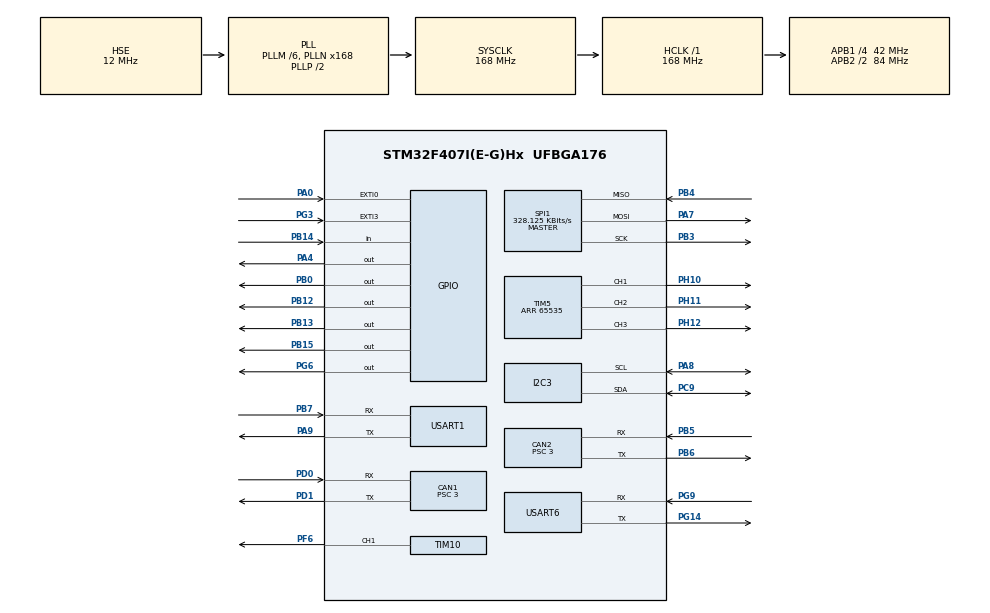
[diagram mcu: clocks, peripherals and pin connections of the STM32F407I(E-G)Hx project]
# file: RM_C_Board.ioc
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CAN1.BS1=CAN_BS1_10TQ
CAN1.BS2=CAN_BS2_3TQ
CAN1.CalculateBaudRate=1000000
CAN1.CalculateTimeBit=1000
CAN1.CalculateTimeQuantum=71.42857142857143
CAN1.Prescaler=3
CAN2.BS1=CAN_BS1_10TQ
CAN2.BS2=CAN_BS2_3TQ
CAN2.CalculateBaudRate=1000000
CAN2.CalculateTimeBit=1000
CAN2.CalculateTimeQuantum=71.42857142857143
CAN2.Prescaler=3
Dma.Request0=USART1_TX
Dma.Request1=USART6_TX
Dma.Request2=USART1_RX
Dma.USART1_RX.2.Direction=DMA_PERIPH_TO_MEMORY
Dma.USART1_RX.2.FIFOMode=DMA_FIFOMODE_DISABLE
Dma.USART1_RX.2.Instance=DMA2_Stream2
Dma.USART1_RX.2.MemDataAlignment=DMA_MDATAALIGN_BYTE
Dma.USART1_RX.2.MemInc=DMA_MINC_ENABLE
Dma.USART1_RX.2.Mode=DMA_NORMAL
Dma.USART1_RX.2.PeriphDataAlignment=DMA_PDATAALIGN_BYTE
Dma.USART1_RX.2.PeriphInc=DMA_PINC_DISABLE
Dma.USART1_RX.2.Priority=DMA_PRIORITY_VERY_HIGH
Dma.USART1_TX.0.Direction=DMA_MEMORY_TO_PERIPH
Dma.USART1_TX.0.FIFOMode=DMA_FIFOMODE_DISABLE
Dma.USART1_TX.0.Instance=DMA2_Stream7
Dma.USART1_TX.0.MemDataAlignment=DMA_MDATAALIGN_BYTE
Dma.USART1_TX.0.MemInc=DMA_MINC_ENABLE
Dma.USART1_TX.0.Mode=DMA_NORMAL
Dma.USART1_TX.0.PeriphDataAlignment=DMA_PDATAALIGN_BYTE
Dma.USART1_TX.0.PeriphInc=DMA_PINC_DISABLE
Dma.USART1_TX.0.Priority=DMA_PRIORITY_HIGH
Dma.USART6_TX.1.Direction=DMA_MEMORY_TO_PERIPH
Dma.USART6_TX.1.FIFOMode=DMA_FIFOMODE_DISABLE
Dma.USART6_TX.1.Instance=DMA2_Stream6
Dma.USART6_TX.1.MemDataAlignment=DMA_MDATAALIGN_BYTE
Dma.USART6_TX.1.MemInc=DMA_MINC_ENABLE
Dma.USART6_TX.1.Mode=DMA_NORMAL
Dma.USART6_TX.1.PeriphDataAlignment=DMA_PDATAALIGN_BYTE
Dma.USART6_TX.1.PeriphInc=DMA_PINC_DISABLE
Dma.USART6_TX.1.Priority=DMA_PRIORITY_VERY_HIGH
Mcu.Family=STM32F4
Mcu.Name=STM32F407I(E-G)Hx
Mcu.Package=UFBGA176
NVIC.CAN1_RX0_IRQn=true\:0\:0\:false\:false\:true\:true\:true\:true
NVIC.DMA2_Stream2_IRQn=true\:0\:0\:false\:false\:true\:false\:true\:true
NVIC.DMA2_Stream6_IRQn=true\:0\:0\:false\:false\:true\:false\:true\:true
NVIC.DMA2_Stream7_IRQn=true\:0\:0\:false\:false\:true\:false\:true\:true
NVIC.EXTI0_IRQn=true\:0\:0\:false\:false\:true\:true\:true\:true
NVIC.EXTI3_IRQn=true\:0\:0\:false\:false\:true\:true\:true\:true
NVIC.PriorityGroup=NVIC_PRIORITYGROUP_4
NVIC.TIM1_UP_TIM10_IRQn=true\:0\:0\:false\:false\:true\:true\:true\:true
NVIC.TIM4_IRQn=true\:0\:0\:false\:false\:true\:true\:true\:true
NVIC.TIM8_UP_TIM13_IRQn=true\:0\:0\:false\:false\:true\:true\:true\:true
NVIC.USART1_IRQn=true\:0\:0\:false\:false\:true\:true\:true\:true
NVIC.USART6_IRQn=true\:0\:0\:false\:false\:true\:true\:true\:true
PA0-WKUP.GPIO_ModeDefaultEXTI=GPIO_MODE_IT_FALLING
PA0-WKUP.GPIO_PuPd=GPIO_PULLUP
PA0-WKUP.Signal=GPXTI0
PA13.Mode=Serial_Wire
PA13.Signal=SYS_JTMS-SWDIO
PA14.Mode=Serial_Wire
PA14.Signal=SYS_JTCK-SWCLK
PA4.Signal=GPIO_Output
PA7.Mode=Full_Duplex_Master
PA7.Signal=SPI1_MOSI
PA8.Mode=I2C
PA8.Signal=I2C3_SCL
PA9.Mode=Asynchronous
PA9.Signal=USART1_TX
PB0.Signal=GPIO_Output
PB12.GPIO_PuPd=GPIO_NOPULL
PB12.Signal=GPIO_Output
PB13.GPIO_PuPd=GPIO_NOPULL
PB13.Signal=GPIO_Output
PB14.GPIO_PuPd=GPIO_PULLUP
PB14.Signal=GPIO_Input
PB15.GPIO_PuPd=GPIO_NOPULL
PB15.Signal=GPIO_Output
PB3.Mode=Full_Duplex_Master
PB3.Signal=SPI1_SCK
PB4.Mode=Full_Duplex_Master
PB4.Signal=SPI1_MISO
PB5.Mode=CAN_Activate
PB5.Signal=CAN2_RX
PB6.Mode=CAN_Activate
PB6.Signal=CAN2_TX
PB7.Mode=Asynchronous
PB7.Signal=USART1_RX
PC9.Mode=I2C
PC9.Signal=I2C3_SDA
PD0.Mode=CAN_Activate
PD0.Signal=CAN1_RX
PD1.Mode=CAN_Activate
PD1.Signal=CAN1_TX
PF6.Signal=S_TIM10_CH1
PG14.Mode=Asynchronous
PG14.Signal=USART6_TX
PG3.Signal=GPXTI3
PG6.Signal=GPIO_Output
PG9.Mode=Asynchronous
PG9.Signal=USART6_RX
PH0-OSC_IN.Mode=HSE-External-Oscillator
PH0-OSC_IN.Signal=RCC_OSC_IN
PH1-OSC_OUT.Mode=HSE-External-Oscillator
PH1-OSC_OUT.Signal=RCC_OSC_OUT
PH10.Signal=S_TIM5_CH1
PH11.Signal=S_TIM5_CH2
PH12.Signal=S_TIM5_CH3
ProjectManager.HeapSize=0x200
ProjectManager.StackSize=0x400
ProjectManager.TargetToolchain=Makefile
RCC.48MHZClocksFreq_Value=84000000
RCC.AHBFreq_Value=168000000
RCC.APB1CLKDivider=RCC_HCLK_DIV4
RCC.APB1Freq_Value=42000000
RCC.APB1TimFreq_Value=84000000
RCC.APB2CLKDivider=RCC_HCLK_DIV2
RCC.APB2Freq_Value=84000000
RCC.APB2TimFreq_Value=168000000
RCC.CortexFreq_Value=168000000
RCC.HCLKFreq_Value=168000000
RCC.HSE_VALUE=12000000
RCC.HSI_VALUE=16000000
RCC.LSE_VALUE=32768
RCC.PLLM=6
RCC.PLLN=168
RCC.PLLSourceVirtual=RCC_PLLSOURCE_HSE
RCC.SYSCLKFreq_VALUE=168000000
RCC.SYSCLKSource=RCC_SYSCLKSOURCE_PLLCLK
RCC.VCOOutputFreq_Value=336000000
SH.S_TIM10_CH1.0=TIM10_CH1,PWM Generation1 CH1
SH.S_TIM5_CH1.0=TIM5_CH1,PWM Generation1 CH1
SH.S_TIM5_CH2.0=TIM5_CH2,PWM Generation2 CH2
SH.S_TIM5_CH3.0=TIM5_CH3,PWM Generation3 CH3
SPI1.BaudRatePrescaler=SPI_BAUDRATEPRESCALER_256
SPI1.CLKPhase=SPI_PHASE_2EDGE
SPI1.CLKPolarity=SPI_POLARITY_HIGH
SPI1.CalculateBaudRate=328.125 KBits/s
SPI1.Direction=SPI_DIRECTION_2LINES
SPI1.Mode=SPI_MODE_MASTER
SPI1.VirtualType=VM_MASTER
TIM1.Period=10-1
TIM1.Prescaler=16800-1
TIM10.Channel=TIM_CHANNEL_1
TIM10.Period=4999
TIM4.Period=10-1
TIM4.Prescaler=16800-1
TIM5.Channel-PWM\ Generation1\ CH1=TIM_CHANNEL_1
TIM5.Channel-PWM\ Generation2\ CH2=TIM_CHANNEL_2
TIM5.Channel-PWM\ Generation3\ CH3=TIM_CHANNEL_3
TIM5.Period=65535
TIM8.Period=10-1
TIM8.Prescaler=16800-1
USART1.VirtualMode=VM_ASYNC
USART6.VirtualMode=VM_ASYNC
VP_TIM10_VS_ClockSourceINT.Mode=Enable_Timer
VP_TIM1_VS_ClockSourceINT.Mode=Internal
VP_TIM4_VS_ClockSourceINT.Mode=Internal
VP_TIM5_VS_ClockSourceINT.Mode=Internal
VP_TIM8_VS_ClockSourceINT.Mode=Internal
board=custom

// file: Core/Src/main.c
/* USER CODE BEGIN Header */
/**
  ******************************************************************************
  * @file           : main.c
  * @brief          : Main program body
  ******************************************************************************
  * @attention
  *
  * Copyright (c) 2023 STMicroelectronics.
  * All rights reserved.
  *
  * This software is licensed under terms that can be found in the LICENSE file
  * in the root directory of this software component.
  * If no LICENSE file comes with this software, it is provided AS-IS.
  *
  ******************************************************************************
  */
/* USER CODE END Header */
#include "main.h"
#include "can.h"
#include "dma.h"
#include "i2c.h"
#include "spi.h"
#include "tim.h"
#include "usart.h"
#include "gpio.h"

/* USER CODE BEGIN Includes */

#include "headfile.h"
#include "string.h"

/* USER CODE END Includes */

/* USER CODE BEGIN PD */

#define BUFFER_SIZE 19  // 根据需要设置缓冲区大小
char input_buffer[BUFFER_SIZE];

uint8_t rx_char;
uint16_t buffer_index = 0;

/* USER CODE END PD */

/* USER CODE BEGIN PV */

extern int stop_flag; // KEY Button
extern FusionAhrs ahrs;
extern int control_mode;

int control_mode = 1;  // 0: 手柄控制, 1: 串口控制

// volatile int new_serial_data_received = 0;

int SERIAL_PERIOD_MS = 10; // 100HZ

float Vcx = 0;   //   m/s
float Wc = 0;    //   rad/s

// 串口指令超时保护
uint32_t last_serial_cmd_tick = 0;
#define SERIAL_CMD_TIMEOUT_MS 500

/* USER CODE END PV */

void SystemClock_Config(void);
/* USER CODE BEGIN PFP */
void Serial_Output();
void Serial_Input(); // 函数声明
void Serial_Control();

uint8_t DMA_RX_Buffer[DMA_RX_BUF_SIZE];
uint8_t UART1_RX_Buffer[UART_RX_BUF_SIZE];
volatile uint16_t UART1_RX_Size = 0;
volatile uint8_t new_serial_data_received = 0;

/* USER CODE END PFP */

int main(void)
{

  /* MCU Configuration--------------------------------------------------------*/

  /* Reset of all peripherals, Initializes the Flash interface and the Systick. */
  HAL_Init();

  /* USER CODE BEGIN Init */

  // USART1_DMA_Init();  // 启动 DMA 串口接收

  /* USER CODE END Init */

  /* Configure the system clock */
  SystemClock_Config();

  /* Initialize all configured peripherals */
  MX_GPIO_Init();
  MX_DMA_Init();
  MX_CAN1_Init();
  MX_CAN2_Init();
  MX_USART1_UART_Init();
  MX_TIM1_Init();
  MX_TIM8_Init();
  MX_TIM4_Init();
  MX_TIM5_Init();
  MX_TIM10_Init();
  MX_I2C3_Init();
  MX_SPI1_Init();
  MX_USART6_UART_Init();
  /* USER CODE BEGIN 2 */

  Init_all();
  clrStruct();

  TaskAdd(Serial_Control, 100); // 100Hz

  TaskAdd(Serial_Output, SERIAL_PERIOD_MS); // 100Hz Serial

  TaskAdd(Speed_set, 5); // 200Hz for wheel PID
  TaskAdd(IMU_update, IMUdeltaTime * 1000); // 00Hz for updating IMU and print delta time // TaskPrintDeltaTime( TaskAdd(IMU_update, 1) );

  TaskAdd(Joystick_motor_control, 10); // 50Hz

//  TaskAdd(ParseGpsBuffer, 100); // 10Hz

  // (1) Start DMA reception
  HAL_UART_Receive_DMA(&huart1, DMA_RX_Buffer, DMA_RX_BUF_SIZE);

  // (2) Enable the idle interrupt (IDLE interrupt)
  __HAL_UART_ENABLE_IT(&huart1, UART_IT_IDLE);

  /* USER CODE END 2 */

  /* Infinite loop */
  while (1)
  {

    /* USER CODE BEGIN 3 */

    // led_green_start();

    if(stop_flag)  // Stop Driving when stop_flag is true
    {
      led_red_blink();
    }
    else
    {
        TaskRun();

        if (new_serial_data_received) {
          new_serial_data_received = 0;
          Serial_Input((char*)UART1_RX_Buffer);
          usart_printf("Received: %s\r\n", UART1_RX_Buffer);
      }
    }
  }

  /* USER CODE END 3 */
}

void SystemClock_Config(void)
{
  RCC_OscInitTypeDef RCC_OscInitStruct = {0};
  RCC_ClkInitTypeDef RCC_ClkInitStruct = {0};

  /** Configure the main internal regulator output voltage
  */
  __HAL_RCC_PWR_CLK_ENABLE();
  __HAL_PWR_VOLTAGESCALING_CONFIG(PWR_REGULATOR_VOLTAGE_SCALE1);

  /** Initializes the RCC Oscillators according to the specified parameters
  * in the RCC_OscInitTypeDef structure.
  */
  RCC_OscInitStruct.OscillatorType = RCC_OSCILLATORTYPE_HSE;
  RCC_OscInitStruct.HSEState = RCC_HSE_ON;
  RCC_OscInitStruct.PLL.PLLState = RCC_PLL_ON;
  RCC_OscInitStruct.PLL.PLLSource = RCC_PLLSOURCE_HSE;
  RCC_OscInitStruct.PLL.PLLM = 6;
  RCC_OscInitStruct.PLL.PLLN = 168;
  RCC_OscInitStruct.PLL.PLLP = RCC_PLLP_DIV2;
  RCC_OscInitStruct.PLL.PLLQ = 4;
  if (HAL_RCC_OscConfig(&RCC_OscInitStruct) != HAL_OK)
  {
    Error_Handler();
  }

  /** Initializes the CPU, AHB and APB buses clocks
  */
  RCC_ClkInitStruct.ClockType = RCC_CLOCKTYPE_HCLK|RCC_CLOCKTYPE_SYSCLK
                              |RCC_CLOCKTYPE_PCLK1|RCC_CLOCKTYPE_PCLK2;
  RCC_ClkInitStruct.SYSCLKSource = RCC_SYSCLKSOURCE_PLLCLK;
  RCC_ClkInitStruct.AHBCLKDivider = RCC_SYSCLK_DIV1;
  RCC_ClkInitStruct.APB1CLKDivider = RCC_HCLK_DIV4;
  RCC_ClkInitStruct.APB2CLKDivider = RCC_HCLK_DIV2;

  if (HAL_RCC_ClockConfig(&RCC_ClkInitStruct, FLASH_LATENCY_5) != HAL_OK)
  {
    Error_Handler();
  }
}

/* USER CODE BEGIN 4 */

extern float gyro[], accel[];
extern FusionOffset offset;
extern FusionVector gyroscope;
extern FusionVector accelerometer;
extern FusionVector magnetometer;
float real_vc;
float real_w;    //clockwise stands for minus
float x, y, z; // local pose

// void USART1_DMA_Init(void)
//   {
//       // 启动 DMA 接收

//       HAL_UART_Receive_DMA(&huart1, input_buffer, BUFFER_SIZE);
//   }

void Serial_Output(){
  static uint32_t last_output_tick = 0;
  uint32_t now = HAL_GetTick();
  float dt = (now - last_output_tick) / 1000.0f;
  if (dt <= 0.0f || dt > 0.1f) dt = (float)SERIAL_PERIOD_MS / 1000.0f; // 首次或异常保护
  last_output_tick = now;

  const FusionQuaternion Q = FusionAhrsGetQuaternion(&ahrs);
  const FusionEuler euler = FusionQuaternionToEuler(Q);
  const FusionVector LinearAcc = FusionAhrsGetLinearAcceleration(&ahrs);

  // 使用全部 4 个电机计算 real_vc/real_w
  float avg_left_rpm  = (motor_chassis[0].speed_rpm + motor_chassis[1].speed_rpm) / 2.0f;
  float avg_right_rpm = ((-motor_chassis[2].speed_rpm) + (-motor_chassis[3].speed_rpm)) / 2.0f;
  MOTORrpm2vw(avg_left_rpm, avg_right_rpm, &real_vc, &real_w);

  float yaw = FusionDegreesToRadians(euler.angle.yaw), pitch = FusionDegreesToRadians(euler.angle.pitch), roll = FusionDegreesToRadians(euler.angle.roll);
  float cos_yaw = cos(yaw), sin_yaw = sin(yaw);
  float cos_pitch = cos(pitch), sin_pitch = sin(pitch);
  float cos_roll = cos(roll), sin_roll = sin(roll);
  float delta_s = real_vc * dt;
  // pose integration
  x += (cos_yaw * sin_pitch * sin_roll - sin_yaw * cos_roll) * delta_s;
  y += (sin_yaw * sin_pitch * sin_roll + cos_yaw * cos_roll) * delta_s;
  z += (cos_pitch * sin_roll) * delta_s;

  // usart_printf("%d,%d,%d,%d,%d,%d,%d,%d,%d,%d,%d,%d,%d\n",
  //             (int)(x * 10000), (int)(y * 10000), (int)(z * 10000), // pose
  //             (int)(Q.element.x * 10000), (int)(Q.element.y * 10000), (int)(Q.element.z * 10000), (int)(Q.element.w * 10000), // orientation
  //             (int)(0.0f * 10000), (int)(real_vc * 10000), (int)(0.0f * 10000), // linear acceleration
  //             (int)(FusionDegreesToRadians(gyroscope.axis.x) * 10000),
  //             (int)(FusionDegreesToRadians(gyroscope.axis.y) * 10000),
  //             (int)(FusionDegreesToRadians(gyroscope.axis.z) * 10000));

    usart_printf("%f,%f,%f,%f,%f,%f,%f,%f,%f,%f,%f,%f,%f,%f,%f,%f\n",
                      x, y, z, // Position coordinates
                      Q.element.x,
                      Q.element.y,
                      Q.element.z,
                      Q.element.w, // Attitude (quaternion)
                      0.0f, real_vc, 0.0f, // Linear velocity
                      FusionDegreesToRadians(gyroscope.axis.x),
                      FusionDegreesToRadians(gyroscope.axis.y),
                      FusionDegreesToRadians(gyroscope.axis.z), // Angular velocity

                      magnetometer.axis.x,
                      magnetometer.axis.y,
                      magnetometer.axis.z); // Magnetometer data

  //  LongLat2XY(Convert_to_degrees(Save_Data.longitude),Convert_to_degrees(Save_Data.latitude),&gps_X,&gps_Y);
//  LongLat2XY(120.742925,31.268221,&gps_X0,&gps_Y0);

  // Print to VOFA+
//  usart_printf("%f,%f,%f,%f,%f,%f,%f,%f,%f,%f,%f,%f\n",
//      gyroscope.axis.x, gyroscope.axis.y, gyroscope.axis.z,
//      acc_x_avg, acc_y_avg, acc_z_avg,
//      magnetometer.axis.x, magnetometer.axis.y, magnetometer.axis.z,
//      euler.angle.roll, euler.angle.pitch, euler.angle.yaw
//  );

//usart_printf("%lf,%lf,%d,%d,%d,%d,%f,%f,%f,%f,%f,%f,%f,%f,%f\n",
//      Convert_to_degrees(Save_Data.latitude),
//      Convert_to_degrees(Save_Data.longitude),
//      motor_chassis[0].speed_rpm,
//      motor_chassis[1].speed_rpm,
//      -motor_chassis[2].speed_rpm,
//      -motor_chassis[3].speed_rpm,
//      real_vc,
//      real_w,
//      gyro[2],
//      euler.angle.roll,
//      euler.angle.pitch,
//      euler.angle.yaw,
//      LinearAcc.axis.x,
//      gps_X-gps_X0,
//      gps_Y-gps_Y0
//      );

  // usart_printf("%0.3f,%0.3f,%0.3f\n", euler.angle.roll, euler.angle.pitch, euler.angle.yaw);
//   PrintGpsBuffer();
}

#define MAX_RETRIES 1  // 最大重试次数
#define RETRY_TIMEOUT_MS 3  // 每次重试的超时时间，单位毫秒

char failed_input_buffer[BUFFER_SIZE];  // 用于存储解析失败的输入数据
char record_input_buffer[BUFFER_SIZE];
// void Serial_Input(const char* input_data)
// {
//     if (control_mode == 1)
//     {
//         float temp_vcx, temp_wc;
//         int retries = 0;  // 重试次数
//         // 尝试解析输入数据
//         while (retries < MAX_RETRIES) {
//             if (sscanf(input_data, "vcx=%f,wc=%f", &temp_vcx, &temp_wc) == 2) {
//                 // 如果解析成功，更新Vcx和Wc
//                 Vcx = temp_vcx;
//                 Wc = temp_wc;
//                 return;  // 解析成功，退出函数
//             } else {
//                 // 如果解析失败，增加重试次数并等待

//                 retries++;

//                 // 将失败的输入数据存入失败缓冲区，以便监视
//                 snprintf(failed_input_buffer, sizeof(failed_input_buffer), "Failed input: %s", input_data);

//                 // 可选择在串口打印失败的输入数据，方便调试
//                 // usart_printf("Failed to parse input after %d retries: %s\n", retries, failed_input_buffer);

//                 HAL_Delay(RETRY_TIMEOUT_MS);  // 等待指定时间后重新尝试
//             }
//         }
//         led_green_start();
//         // 如果重试次数用尽，表示解析失败
//         usart_printf("Failed to parse input after %d retries: %s\n", retries, input_data);
//     }
// }

// void Serial_Input(const char* input_data)
// {
//     if (control_mode == 1)
//     {
//         led_green_start();
//         float temp_vcx, temp_wc;
//         int retries = 0;  // 重试次数

//         // 尝试解析输入数据
//         while (retries < MAX_RETRIES) {
//             if (sscanf(input_data, "vcx=%f,wc=%f", &temp_vcx, &temp_wc) == 2) {
//                 // 如果解析成功，更新 Vcx 和 Wc
//                 Vcx = temp_vcx;
//                 Wc = temp_wc;
//                 return;  // 解析成功，退出函数
//             } else {
//                 retries++;
//                 HAL_Delay(RETRY_TIMEOUT_MS);  // 等待指定时间后重新尝试
//             }
//         }
//         // 如果解析失败，打印错误信息
//         snprintf(failed_input_buffer, sizeof(failed_input_buffer), "Failed input: %s", input_data);
//         usart_printf("Failed to parse input after %d retries: %s\n", retries, input_data);
//     }
// }

void Serial_Input(const char* input_data)
{
    if (control_mode == 1)
    {
        float temp_vcx, temp_wc;
        snprintf(record_input_buffer, sizeof(record_input_buffer), "%s", input_data);

        if (sscanf(input_data, "vcx=%f,wc=%f", &temp_vcx, &temp_wc) == 2) {
            Vcx = temp_vcx;
            Wc = temp_wc;
            last_serial_cmd_tick = HAL_GetTick();
        }
        else {
            snprintf(failed_input_buffer, sizeof(failed_input_buffer), "Failed input: %s", input_data);
        }
    }
}

// void Serial_Control(void)
// {
//     if (new_serial_data_received) {
//         // 解析串口输入的数据，更新 Vcx 和 Wc
//         Serial_Input(input_buffer);

//         // 重置标志位
//         new_serial_data_received = 0;
//         memset(input_buffer, 0, BUFFER_SIZE);  // 清空接收缓冲区
//     }
// }

void Serial_Control(void)
{
    // if (new_serial_data_received) {
    //     new_serial_data_received = 0;

    //     // 这里的 UART1_RX_Buffer[] 就是本次数据
    //     UART1_RX_Buffer[UART1_RX_Size] = '\0';
    //     Serial_Input((char*)UART1_RX_Buffer);

    //     // 你也可在这里 memset(UART1_RX_Buffer, 0, UART_RX_BUF_SIZE);
    // }
}

/* USER CODE END 4 */

void Error_Handler(void)
{
  __disable_irq();
  while (1)
  {
  }
}
